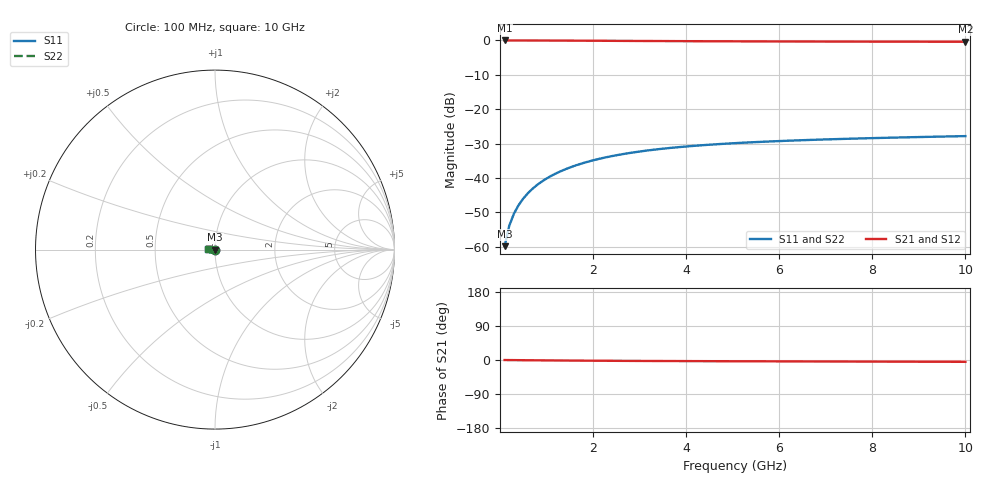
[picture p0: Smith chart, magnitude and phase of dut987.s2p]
! Touchstone file exported from HFSS 2024.1.0
!  File:  C:/UserFiles/LocalFiles/RDL_TSV_Batchsim/temp_TSV1_987_1779952505.aedt
!  Generated:  03:19:11 PM May 28, 2026
!  Design:  TSV1
!  Project:  temp_TSV1_987_1779952505
!  Setup:  Setup1
!  Solution:  Sweep
! Variables:
!  dtsv = 8.58um
!  hbump = 3um
!  htsv = 74.95um
!  lrdl = 252.1521522um
!  p = 40
!  p1 = 44.2um
!  t = 500um
!  trdl = 3um
!  wrdl = 24.89489489um
# GHz S MA R 50.000000
! Terminal data exported
! Port[1] = TSV22_T1
! Port[2] = TSV22_T2
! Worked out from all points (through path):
!   100 points, 100 MHz to 10 GHz, reference 50 ohm
!   highest |S21| = 0.00 dB at 100 MHz (marker M1); lowest = -0.4 dB at 10 GHz (marker M2)
!   lowest |S11| = -59.9 dB at 100 MHz (marker M3), VSWR 1.00, Z = 50 - j0.1 ohm
!   |S11| at or under -10 dB: start of sweep to end of sweep
!   |S22| runs from -59.9 to -27.8 dB; largest |S21 - S12| = 4.9e-15
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0.1  0.001014 -80.8  0.9998 -0.1  0.9998 -0.1  0.001014 -80.8
! Gamma 0 0 0 0
! Port Impedance 50 0 50 0
0.2  0.002009 -87.7  0.9997 -0.2  0.9997 -0.2  0.002009 -87.7
0.3  0.00301 -91.2  0.9995 -0.3  0.9995 -0.3  0.00301 -91.2
0.4  0.004007 -93.8  0.9993 -0.4  0.9993 -0.4  0.004007 -93.8
0.5  0.004997 -96.0  0.999 -0.5  0.999 -0.5  0.004997 -96.0
0.6  0.005977 -98.1  0.9987 -0.6  0.9987 -0.6  0.005977 -98.1
0.7  0.006946 -100.0  0.9983 -0.7  0.9983 -0.7  0.006946 -100.0
0.8  0.007902 -101.9  0.9979 -0.8  0.9979 -0.8  0.007902 -101.9
0.9  0.008844 -103.7  0.9974 -0.9  0.9974 -0.9  0.008844 -103.7
1.1  0.01068 -107.1  0.9964 -1.1  0.9964 -1.1  0.01068 -107.1
1.4  0.0133 -112.0  0.9945 -1.4  0.9945 -1.4  0.0133 -112.0
1.6  0.01495 -115.1  0.9931 -1.6  0.9931 -1.6  0.01495 -115.1
1.8  0.01651 -118.1  0.9917 -1.7  0.9917 -1.7  0.01651 -118.1
2.1  0.0187 -122.4  0.9895 -1.9  0.9895 -1.9  0.0187 -122.4
2.5  0.02133 -127.7  0.9864 -2.2  0.9864 -2.2  0.02133 -127.7
2.9  0.02364 -132.6  0.9835 -2.4  0.9835 -2.4  0.02364 -132.6
3.4  0.02612 -138.2  0.98 -2.7  0.98 -2.7  0.02612 -138.2
4.2  0.02935 -146.0  0.975 -3.0  0.975 -3.0  0.02935 -146.0
5.1  0.03214 -153.5  0.9705 -3.3  0.9705 -3.3  0.03214 -153.5
6.7  0.03572 -164.4  0.9645 -3.8  0.9645 -3.8  0.03572 -164.4
8.4  0.03845 -173.6  0.9602 -4.3  0.9602 -4.3  0.03845 -173.6
10  0.04052 179.1  0.9574 -4.8  0.9574 -4.8  0.04052 179.1
